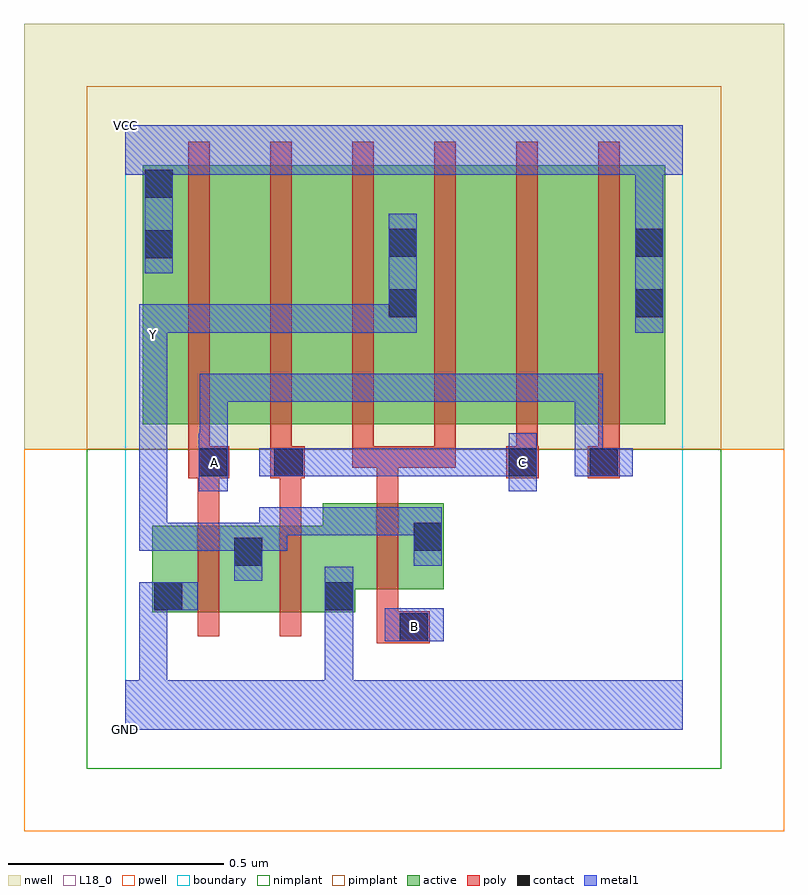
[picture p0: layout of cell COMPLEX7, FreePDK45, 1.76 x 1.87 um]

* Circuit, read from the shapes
.subckt COMPLEX7 A B C GND VCC Y
M1 Y A GND VSUBS nfet w=0.2u l=0.05u
M2 GND C Y VSUBS nfet w=0.2u l=0.05u
M3 Y B GND VSUBS nfet w=0.2u l=0.05u
M4 n1 A VCC n2 pfet w=0.6u l=0.05u
M5 n3 C n1 n2 pfet w=0.6u l=0.05u
M6 Y B n3 n2 pfet w=0.6u l=0.05u
M7 n4 B Y n2 pfet w=0.6u l=0.05u
M8 n5 C n4 n2 pfet w=0.6u l=0.05u
M9 VCC A n5 n2 pfet w=0.6u l=0.05u
.ends

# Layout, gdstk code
import gdstk
lib = gdstk.Library(unit=1e-6, precision=1e-09)
def R(c, l, rs):  # rectangles x0, y0, x1, y1
    for r in rs: c.add(gdstk.rectangle(r[:2], r[2:], *l))
def A(c, l, x, y, w, h, nx, ny, dx, dy):  # array of equal rectangles
    R(c, l, [(x+i*dx, y+j*dy, x+i*dx+w, y+j*dy+h) for i in range(nx) for j in range(ny)])
active = (1, 0)
pwell = (2, 0)
nwell = (3, 0)
nimplant = (4, 0)
pimplant = (5, 0)
poly = (9, 0)
contact = (10, 0)
metal1 = (11, 0)
L18_0 = (18, 0)
boundary = (235, 0)

complex7 = lib.new_cell('COMPLEX7')
R(complex7, active, [(0.062,0.272,0.137,0.472), (0.062,0.272,0.322,0.472), (0.247,0.272,0.532,0.472), (0.247,0.272,0.322,0.472), (0.457,0.272,0.532,0.415), (0.457,0.325,0.737,0.525), (0.662,0.357,0.737,0.525), (0.04,0.707,0.115,1.307), (0.04,0.707,0.265,1.307), (0.265,0.707,0.455,1.307), (0.455,0.707,0.68,1.307), (0.605,0.707,0.835,1.307), (0.605,0.707,0.68,1.2), (0.835,0.707,1.025,1.307), (1.025,0.707,1.25,1.307), (1.175,0.707,1.25,1.307)])
R(complex7, pwell, [(-0.235,-0.235,1.525,0.65)])
R(complex7, nwell, [(-0.235,0.65,1.525,1.635)])
R(complex7, nimplant, [(-0.09,-0.09,1.38,0.65)])
R(complex7, pimplant, [(-0.09,0.65,1.38,1.49)])
A(complex7, poly, 0.145, 0.607, 0.05, 0.095, 6, 1, 0.19, 0)
A(complex7, poly, 0.145, 0.652, 0.05, 0.71, 6, 1, 0.19, 0)
R(complex7, poly, [(0.582,0.2,0.705,0.275), (0.167,0.217,0.217,0.527), (0.357,0.217,0.407,0.527), (0.582,0.225,0.632,0.32), (0.582,0.27,0.632,0.58), (0.167,0.477,0.217,0.632), (0.357,0.477,0.407,0.632), (0.582,0.53,0.632,0.657), (0.145,0.582,0.24,0.657), (0.335,0.582,0.415,0.657), (0.882,0.582,0.957,0.657), (1.07,0.582,1.145,0.657), (0.525,0.607,0.632,0.657), (0.582,0.607,0.765,0.657), (0.715,0.607,0.765,0.657), (0.715,0.607,0.765,0.657), (0.715,0.607,0.765,0.657)])
R(complex7, contact, [(0.635,0.205,0.7,0.27), (0.067,0.277,0.132,0.342), (0.462,0.277,0.527,0.342), (0.252,0.38,0.317,0.445), (0.667,0.415,0.732,0.48), (0.17,0.587,0.235,0.652), (0.345,0.587,0.41,0.652), (0.887,0.587,0.952,0.652), (1.075,0.587,1.14,0.652), (0.61,0.955,0.675,1.02), (1.18,0.955,1.245,1.02), (0.045,1.092,0.11,1.157), (0.61,1.095,0.675,1.16), (1.18,1.095,1.245,1.16), (0.045,1.232,0.11,1.297)])
R(complex7, metal1, [(0,0,1.29,0.115), (0.032,0.05,0.097,0.115), (0.032,0.05,0.097,0.115), (0.032,0.05,0.097,0.115), (0.032,0.05,0.097,0.115), (0.032,0.05,0.097,0.115), (0.032,0.05,0.097,0.115), (0.032,0.05,0.097,0.342), (0.462,0.05,0.527,0.115), (0.462,0.05,0.527,0.115), (0.462,0.05,0.527,0.17), (0.462,0.105,0.527,0.17), (0.462,0.105,0.527,0.17), (0.462,0.105,0.527,0.17), (0.462,0.105,0.527,0.307), (0.6,0.205,0.737,0.282), (0.462,0.242,0.527,0.377), (0.032,0.277,0.167,0.342), (0.252,0.345,0.317,0.48), (0.667,0.38,0.732,0.515), (0.032,0.415,0.097,0.48), (0.032,0.415,0.097,0.48), (0.032,0.415,0.097,0.48), (0.032,0.415,0.317,0.48), (0.032,0.415,0.097,0.912), (0.252,0.415,0.375,0.48), (0.31,0.415,0.375,0.515), (0.31,0.45,0.455,0.515), (0.39,0.45,0.455,0.515), (0.39,0.45,0.675,0.515), (0.61,0.45,0.675,0.515), (0.61,0.45,0.732,0.515), (0.17,0.552,0.237,0.687), (0.887,0.552,0.952,0.687), (0.31,0.587,0.445,0.652), (0.38,0.587,0.455,0.652), (0.39,0.587,0.455,0.652), (0.39,0.587,0.677,0.652), (0.612,0.587,0.677,0.652), (0.612,0.587,0.677,0.652), (0.612,0.587,0.677,0.652), (0.612,0.587,0.815,0.652), (0.75,0.587,0.815,0.652), (0.75,0.587,0.952,0.652), (0.887,0.587,0.952,0.652), (0.887,0.587,0.952,0.652), (1.04,0.587,1.105,0.652), (1.04,0.587,1.105,0.652), (1.04,0.587,1.175,0.652), (1.04,0.587,1.105,0.825), (0.172,0.622,0.237,0.687), (0.172,0.622,0.237,0.687), (0.172,0.622,0.237,0.825), (0.172,0.76,0.237,0.825), (0.172,0.76,0.527,0.825), (0.462,0.76,0.527,0.825), (0.462,0.76,0.527,0.825), (0.462,0.76,0.527,0.825), (0.462,0.76,0.677,0.825), (0.612,0.76,0.677,0.825), (0.612,0.76,0.677,0.825), (0.612,0.76,0.677,0.825), (0.612,0.76,0.815,0.825), (0.75,0.76,0.815,0.825), (0.75,0.76,0.967,0.825), (0.902,0.76,0.967,0.825), (0.902,0.76,0.967,0.825), (0.902,0.76,0.967,0.825), (0.902,0.76,1.105,0.825), (1.04,0.76,1.105,0.825), (0.032,0.847,0.097,0.985), (0.032,0.92,0.097,0.985), (0.032,0.92,0.097,0.985), (0.032,0.92,0.097,0.985), (0.032,0.92,0.097,0.985), (0.032,0.92,0.097,0.985), (0.032,0.92,0.097,0.985), (0.032,0.92,0.317,0.985), (0.252,0.92,0.317,0.985), (0.252,0.92,0.455,0.985), (0.39,0.92,0.455,0.985), (0.39,0.92,0.455,0.985), (0.39,0.92,0.455,0.985), (0.39,0.92,0.675,0.985), (0.61,0.92,0.675,1.195), (0.61,0.92,0.675,0.985), (0.61,0.92,0.675,0.985), (1.18,0.92,1.245,1.195), (0.045,1.057,0.11,1.332), (1.18,1.13,1.245,1.35), (0.045,1.267,0.11,1.35), (0,1.285,1.29,1.4)])
R(complex7, L18_0, [(0,0,1.29,0.115), (0.032,0.05,0.097,0.115), (0.032,0.05,0.097,0.115), (0.032,0.05,0.097,0.115), (0.032,0.05,0.097,0.115), (0.032,0.05,0.097,0.115), (0.032,0.05,0.097,0.115), (0.032,0.05,0.097,0.342), (0.462,0.05,0.527,0.115), (0.462,0.05,0.527,0.115), (0.462,0.05,0.527,0.17), (0.462,0.105,0.527,0.17), (0.462,0.105,0.527,0.17), (0.462,0.105,0.527,0.17), (0.462,0.105,0.527,0.307), (0.6,0.205,0.737,0.282), (0.637,0.207,0.702,0.272), (0.462,0.242,0.527,0.377), (0.032,0.277,0.167,0.342), (0.252,0.345,0.317,0.48), (0.667,0.38,0.732,0.515), (0.032,0.415,0.097,0.48), (0.032,0.415,0.097,0.48), (0.032,0.415,0.097,0.48), (0.032,0.415,0.097,0.912), (0.032,0.415,0.317,0.48), (0.252,0.415,0.375,0.48), (0.31,0.415,0.375,0.515), (0.31,0.45,0.455,0.515), (0.39,0.45,0.455,0.515), (0.39,0.45,0.675,0.515), (0.61,0.45,0.675,0.515), (0.61,0.45,0.732,0.515), (0.17,0.552,0.237,0.687), (0.887,0.552,0.952,0.687), (0.172,0.587,0.237,0.652), (0.31,0.587,0.445,0.652), (0.38,0.587,0.455,0.652), (0.39,0.587,0.455,0.652), (0.39,0.587,0.677,0.652), (0.612,0.587,0.677,0.652), (0.612,0.587,0.677,0.652), (0.612,0.587,0.677,0.652), (0.612,0.587,0.815,0.652), (0.75,0.587,0.815,0.652), (0.75,0.587,0.952,0.652), (0.887,0.587,0.952,0.652), (0.887,0.587,0.952,0.652), (0.887,0.587,0.952,0.652), (1.04,0.587,1.105,0.652), (1.04,0.587,1.105,0.652), (1.04,0.587,1.175,0.652), (1.04,0.587,1.105,0.825), (0.172,0.622,0.237,0.687), (0.172,0.622,0.237,0.687), (0.172,0.622,0.237,0.825), (0.172,0.76,0.237,0.825), (0.172,0.76,0.527,0.825), (0.462,0.76,0.527,0.825), (0.462,0.76,0.527,0.825), (0.462,0.76,0.527,0.825), (0.462,0.76,0.677,0.825), (0.612,0.76,0.677,0.825), (0.612,0.76,0.677,0.825), (0.612,0.76,0.677,0.825), (0.612,0.76,0.815,0.825), (0.75,0.76,0.815,0.825), (0.75,0.76,0.967,0.825), (0.902,0.76,0.967,0.825), (0.902,0.76,0.967,0.825), (0.902,0.76,0.967,0.825), (0.902,0.76,1.105,0.825), (1.04,0.76,1.105,0.825), (0.032,0.847,0.097,0.985), (0.032,0.882,0.097,0.947), (0.032,0.92,0.097,0.985), (0.032,0.92,0.097,0.985), (0.032,0.92,0.097,0.985), (0.032,0.92,0.097,0.985), (0.032,0.92,0.097,0.985), (0.032,0.92,0.097,0.985), (0.032,0.92,0.317,0.985), (0.252,0.92,0.317,0.985), (0.252,0.92,0.455,0.985), (0.39,0.92,0.455,0.985), (0.39,0.92,0.455,0.985), (0.39,0.92,0.455,0.985), (0.39,0.92,0.675,0.985), (0.61,0.92,0.675,0.985), (0.61,0.92,0.675,0.985), (0.61,0.92,0.675,1.195), (1.18,0.92,1.245,1.195), (0.045,1.057,0.11,1.332), (1.18,1.13,1.245,1.35), (0.045,1.267,0.11,1.35), (0,1.285,1.29,1.4)])
R(complex7, boundary, [(0,0,1.29,1.4)])
complex7.add(gdstk.Label('A', (0.205,0.62), layer=11, texttype=0))
complex7.add(gdstk.Label('B', (0.67,0.24), layer=11, texttype=0))
complex7.add(gdstk.Label('C', (0.92,0.62), layer=11, texttype=0))
complex7.add(gdstk.Label('Y', (0.065,0.915), layer=11, texttype=0))
complex7.add(gdstk.Label('VCC', (0,1.4), layer=11, texttype=0))
complex7.add(gdstk.Label('GND', (0,0), layer=11, texttype=0))

lib.write_gds('COMPLEX7.gds')
